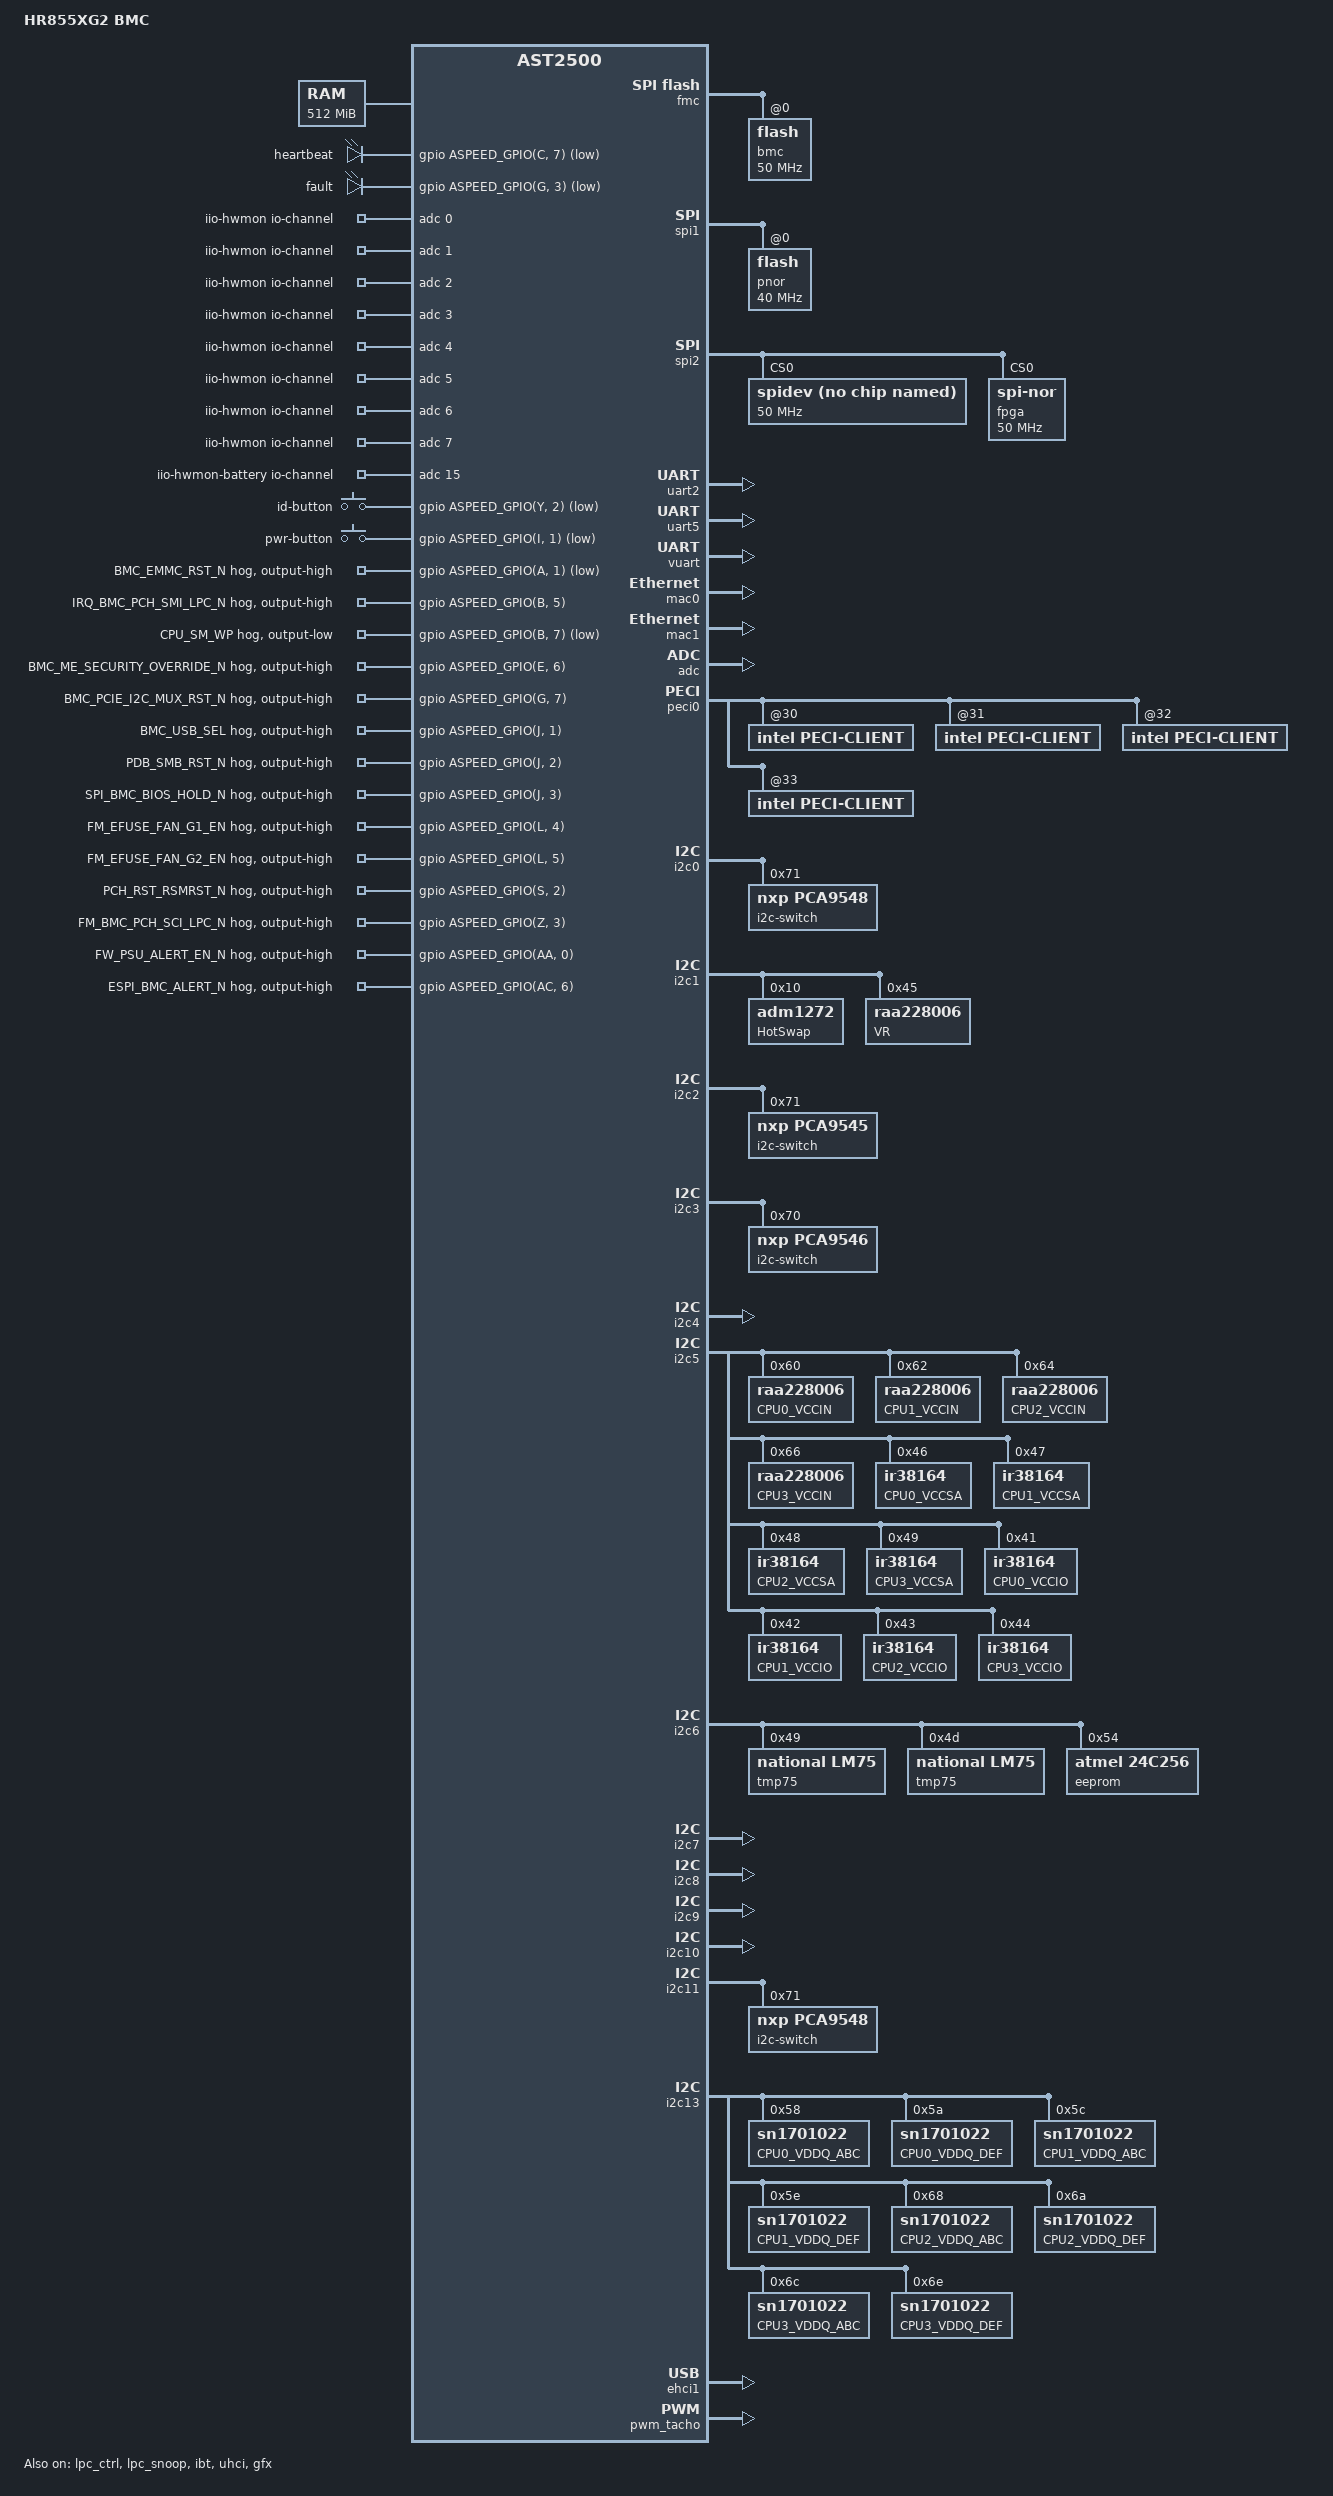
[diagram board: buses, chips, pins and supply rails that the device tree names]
// SPDX-License-Identifier: GPL-2.0+
/*
 * Device Tree file for Lenovo Hr855xg2 platform
 *
 * Copyright (C) 2019-present Lenovo
 */

/dts-v1/;

#include "aspeed-g5.dtsi"
#include <dt-bindings/gpio/aspeed-gpio.h>

/ {
	model = "HR855XG2 BMC";
	compatible = "lenovo,hr855xg2-bmc", "aspeed,ast2500";

	chosen {
		stdout-path = &uart5;
		bootargs = "console=tty0 console=ttyS4,115200 earlyprintk";
	};

	memory@80000000 {
		device_type = "memory";
		reg = <0x80000000 0x20000000>;
	};

	reserved-memory {
		#address-cells = <1>;
		#size-cells = <1>;
		ranges;

		flash_memory: region@9EFF0000 {
			no-map;
			reg = <0x9EFF0000 0x00010000>; /* 64K */
		};

		gfx_memory: framebuffer {
			size = <0x01000000>;
			alignment = <0x01000000>;
			compatible = "shared-dma-pool";
			reusable;
		};
	};
	
	leds {
		compatible = "gpio-leds";

		heartbeat {
			gpios = <&gpio ASPEED_GPIO(C, 7) GPIO_ACTIVE_LOW>;
		};

		fault {
		//	gpios = <&gpio ASPEED_GPIO(C, 6) GPIO_ACTIVE_LOW>;
			gpios = <&gpio ASPEED_GPIO(G, 3) GPIO_ACTIVE_LOW>;
		};
	};	
	
	iio-hwmon {
				compatible = "iio-hwmon";
				io-channels = <&adc 0>, <&adc 1>, <&adc 2>, <&adc 3>,
							<&adc 4>, <&adc 5>, <&adc 6>, <&adc 7>,
							<&adc 8>, <&adc 9>, <&adc 10>,<&adc 11>,
							<&adc 12>,<&adc 13>,<&adc 14>;
	};
	iio-hwmon-battery {
		compatible = "iio-hwmon";
		io-channels = <&adc 15>;
	};
	
	gpio-keys {
		compatible = "gpio-keys";

		id-button {
			label = "id-button";
			gpios = <&gpio ASPEED_GPIO(Y, 2) GPIO_ACTIVE_LOW>;
			linux,code = <ASPEED_GPIO(Y, 2)>;
		};
                pwr-button {
                        label = "pwr-button";
                        gpios = <&gpio ASPEED_GPIO(I, 1) GPIO_ACTIVE_LOW>;
                        linux,code = <ASPEED_GPIO(I, 1)>;
                };
	};
	pcie-slot {
		pcie_slot1: pcie-slot@0{
			label = "pcie-slot-1";
		};

		pcie_slot2: pcie-slot@1{
			label = "pcie-slot-2";
		};

		pcie_slot3: pcie-slot@2{
			label = "pcie-slot-3";
		};

		pcie_slot4: pcie-slot@3{
			label = "pcie-slot-4";
		};

		pcie_slot5: pcie-slot@4{
			label = "pcie-slot-5";
		};

		pcie_slot6: pcie-slot@5{
			label = "pcie-slot-1";
		};

		pcie_slot7: pcie-slot@6{
			label = "pcie-slot-7";
		};

		pcie_slot8: pcie-slot@7{
			label = "pcie-slot-8";
		};

		pcie_slot9: pcie-slot@8{
			label = "pcie-slot-9";
		};

		pcie_slot10: pcie-slot@9{
			label = "pcie-slot-9";
		};

		pcie_slot11: pcie-slot@10{
			label = "pcie-slot-11";
		};

		pcie_slot12: pcie-slot@11{
			label = "pcie-slot-12";
		};

	};


};

&fmc {
	status = "okay";
	flash@0 {
		status = "okay";
		m25p,fast-read;
		label = "bmc";
		spi-max-frequency = <50000000>;
#include "openbmc-flash-layout.dtsi"
	};
};

&lpc_ctrl {
	status = "okay";
	memory-region = <&flash_memory>;
};

&lpc_snoop {
       status = "okay";
       snoop-ports = <0x80>;
};

&spi1 {
	status = "okay";
	flash@0 {
		status = "okay";
		m25p,fast-read;
		label = "pnor";
		spi-max-frequency = <40000000>;
	};
};

&spi2 {
	status = "okay";
	pinctrl-names = "default";
	pinctrl-0 = <&pinctrl_spi2ck_default
		     &pinctrl_spi2cs0_default
		     &pinctrl_spi2miso_default
		     &pinctrl_spi2mosi_default>;
        spidev@0 {
                 status = "okay";
                 compatible = "aspeed,spidev";
                 reg = < 0 >;
                 spi-max-frequency = <50000000>;
        };
        flash@0 {
				compatible = "jedec,spi-nor";
				m25p,fast-read;
				label = "fpga";
				reg = < 0 >;
				spi-max-frequency = <50000000>;
				status = "okay";
		};
};

&uart2 {
	status = "okay";
};

&uart5 {
	status = "okay";
};

&vuart {
	status = "okay";
	auto-flow-control;
};


&ibt {
	status = "okay";	
};

&mac0 {
	status = "okay";
	
	pinctrl-names = "default";
	pinctrl-0 = <&pinctrl_rmii1_default>;
	use-ncsi;
};

&mac1 {
	status = "okay";

	pinctrl-names = "default";
	pinctrl-0 = <&pinctrl_rgmii2_default &pinctrl_mdio2_default>;
};

&adc{
	status = "okay";
};

&peci0 {
	status = "okay";
	peci-client@30 {
		compatible = "intel,peci-client";
		reg = <0x30>;
	};

	peci-client@31 {
		compatible = "intel,peci-client";
		reg = <0x31>;
	};

	peci-client@32 {
		compatible = "intel,peci-client";
		reg = <0x32>;
	};

	peci-client@33 {
		compatible = "intel,peci-client";
		reg = <0x33>;
	};
};


&i2c0 {
	status = "okay";
	i2c-switch@71 {
                compatible = "nxp,pca9548";
                #address-cells = <1>;
                #size-cells = <0>;
                reg = <0x71>;

                i2c_slot8: pcie-slot@0{
                        #address-cells = <1>;
                        #size-cells = <0>;
                        reg = <0>;
                        pcie-slot = &pcie_slot8;
                };
                i2c_slot9: pcie-slot@1{
                        #address-cells = <1>;
                        #size-cells = <0>;
                        reg = <1>;
                        pcie-slot =&pcie_slot9;
                };
                i2c_slot10: pcie-slot@2{
                        #address-cells = <1>;
                        #size-cells = <0>;
                        reg = <2>;
                        pcie-slot = &pcie_slot10;
                };
                i2c_slot11: pcie-slot@3{
                        #address-cells = <1>;
                        #size-cells = <0>;
                        reg = <3>;
                        pcie-slot = &pcie_slot11;
                };
                i2c_slot12: pcie-slot@4{
                        #address-cells = <1>;
                        #size-cells = <0>;
                        reg = <4>;
                        pcie-slot = &pcie_slot12;
                };

        };

};
&i2c1 {
	status = "okay";
		bus-frequency = <90000>;
	HotSwap@10 {
		compatible = "adm1272";
		reg = <0x10>;
	};

	VR@45 {
        compatible = "raa228006";
        reg = <0x45>;
    };


};
&i2c2 {
	status = "okay";
	i2c-switch@71 {
                compatible = "nxp,pca9545";
                #address-cells = <1>;
                #size-cells = <0>;
                reg = <0x71>;

                i2c_slot6: pcie-slot@1{
                        #address-cells = <1>;
                        #size-cells = <0>;
                        reg = <1>;
                        pcie-slot =&pcie_slot6;
                };
                i2c_slot7: pcie-slot@2{
                        #address-cells = <1>;
                        #size-cells = <0>;
                        reg = <2>;
                        pcie-slot =&pcie_slot7;
                };
        };

};

&i2c3 {
	status = "okay";
	
	i2c-switch@70 {
		compatible = "nxp,pca9546";
		reg = <0x70>;
		#address-cells = <1>;
		#size-cells = <0>;

		channel_0: i2c@0 {
			#address-cells = <1>;
			#size-cells = <0>;
			reg = <0>;			
		};

		channel_1: i2c@1 {
			#address-cells = <1>;
			#size-cells = <0>;
			reg = <1>;
		};

		channel_2: i2c@2 {
			#address-cells = <1>;
			#size-cells = <0>;
			reg = <2>;
		};

		channel_3: i2c@3 {
			#address-cells = <1>;
			#size-cells = <0>;
			reg = <3>;
		};
	};

};
&i2c4 {
	status = "okay";

};

&i2c5 {
	status = "okay";
	
	CPU0_VCCIN@60 {
		compatible = "raa228006";
		reg = <0x60>;
	};
	
	CPU1_VCCIN@62 {
		compatible = "raa228006";
		reg = <0x62>;
	};
	
	CPU2_VCCIN@64 {
		compatible = "raa228006";
		reg = <0x64>;
	};
	
	CPU3_VCCIN@66 {
		compatible = "raa228006";
		reg = <0x66>;
	};

	CPU0_VCCSA@46 {
		compatible = "ir38164";
		reg = <0x46>;
	};
	
	CPU1_VCCSA@47 {
		compatible = "ir38164";
		reg = <0x47>;
	};
	
	CPU2_VCCSA@48 {
		compatible = "ir38164";
		reg = <0x48>;
	};
	
	CPU3_VCCSA@49 {
		compatible = "ir38164";
		reg = <0x49>;
	};
	
	CPU0_VCCIO@41 {
		compatible = "ir38164";
		reg = <0x41>;
	};
	
	CPU1_VCCIO@42 {
		compatible = "ir38164";
		reg = <0x42>;
	};
	
	CPU2_VCCIO@43 {
		compatible = "ir38164";
		reg = <0x43>;
	};
	
	CPU3_VCCIO@44 {
		compatible = "ir38164";
		reg = <0x44>;
	};
};

&i2c6 {
	status = "okay";
	
	/* temp1 	*/
	tmp75@49 {
			compatible = "national,lm75";
			reg = <0x49>;
	};
	
	/* temp2	*/
	tmp75@4d {
			compatible = "national,lm75";
			reg = <0x4d>;
	};
	
	eeprom@54 {
		compatible = "atmel,24c256";
		reg = <0x54>;
		pagesize = <16>;
	};

};

&i2c7 {
	status = "okay";
	
};

&i2c8 {
	status = "okay";

};

&i2c9 {
	status = "okay";
};

&i2c10 {
	status = "okay";
};

&i2c11 {
	status = "okay";
	i2c-switch@71 {
                compatible = "nxp,pca9548";
                #address-cells = <1>;
                #size-cells = <0>;
                reg = <0x71>;
                i2c_slot1: pcie-slot@0{
                        #address-cells = <1>;
                        #size-cells = <0>;
                        reg = <0>;
                        pcie-slot =&pcie_slot1;
                };
                i2c_slot2: pcie-slot@1{
                        #address-cells = <1>;
                        #size-cells = <0>;
                        reg = <1>;
                        pcie-slot = &pcie_slot2;
                };
                i2c_slot3: pcie-slot@2{
                        #address-cells = <1>;
                        #size-cells = <0>;
                        reg = <2>;
                        pcie-slot = &pcie_slot3;
                };
                i2c_slot4: pcie-slot@3{
                        #address-cells = <1>;
                        #size-cells = <0>;
                        reg = <3>;
                        pcie-slot = &pcie_slot4;
                };
                i2c_slot5: pcie-slot@4{
                        #address-cells = <1>;
                        #size-cells = <0>;
                        reg = <4>;
                        pcie-slot = &pcie_slot5;
                };
        };

};

&i2c13 {
	status = "okay";
	
	CPU0_VDDQ_ABC@58 {
		compatible = "sn1701022";
		reg = <0x58>;
	};
	
	CPU0_VDDQ_DEF@5a {
		compatible = "sn1701022";
		reg = <0x5a>;
	};
	
	CPU1_VDDQ_ABC@5c {
		compatible = "sn1701022";
		reg = <0x5c>;
	};
	
	CPU1_VDDQ_DEF@5e {
		compatible = "sn1701022";
		reg = <0x5e>;
	};
	
	CPU2_VDDQ_ABC@68 {
		compatible = "sn1701022";
		reg = <0x68>;
	};
	
	CPU2_VDDQ_DEF@6a {
		compatible = "sn1701022";
		reg = <0x6a>;
	};
	
	CPU3_VDDQ_ABC@6c {
		compatible = "sn1701022";
		reg = <0x6c>;
	};
	
	CPU3_VDDQ_DEF@6e {
		compatible = "sn1701022";
		reg = <0x6e>;
	};
	
};

&ehci1 {
	status = "okay";
};

&uhci {
	status = "okay";
};

&gfx {
		status = "okay";
		memory-region = <&gfx_memory>;
};

&pwm_tacho {
	status = "okay";
	pinctrl-names = "default";
	pinctrl-0 = <&pinctrl_pwm0_default
	&pinctrl_pwm1_default 
	&pinctrl_pwm2_default 
	&pinctrl_pwm3_default 
	&pinctrl_pwm4_default
	&pinctrl_pwm5_default
	&pinctrl_pwm6_default
	&pinctrl_pwm7_default>;

	fan@0 {
		reg = <0x00>;
		aspeed,fan-tach-ch = /bits/ 8 <0x00>;
	};

	fan@1 {
		reg = <0x00>;
		aspeed,fan-tach-ch = /bits/ 8 <0x01>;
	};

	fan@2 {
		reg = <0x01>;
		aspeed,fan-tach-ch = /bits/ 8 <0x02>;
	};

	fan@3 {
		reg = <0x01>;
		aspeed,fan-tach-ch = /bits/ 8 <0x03>;
	};

	fan@4 {
		reg = <0x02>;
		aspeed,fan-tach-ch = /bits/ 8 <0x04>;
	};

	fan@5 {
		reg = <0x02>;
		aspeed,fan-tach-ch = /bits/ 8 <0x05>;
	};

	fan@6 {
		reg = <0x03>;
		aspeed,fan-tach-ch = /bits/ 8 <0x06>;
	};
	
	fan@7 {
		reg = <0x03>;
		aspeed,fan-tach-ch = /bits/ 8 <0x07>;
	};

	fan@8 {
		reg = <0x04>;
		aspeed,fan-tach-ch = /bits/ 8 <0x08>;
	};

	fan@9 {
		reg = <0x04>;
		aspeed,fan-tach-ch = /bits/ 8 <0x09>;
	};

	fan@10 {
		reg = <0x05>;
		aspeed,fan-tach-ch = /bits/ 8 <0x0a>;
	};

	fan@11 {
		reg = <0x05>;
		aspeed,fan-tach-ch = /bits/ 8 <0x0b>;
	};

	fan@12 {
		reg = <0x06>;
		aspeed,fan-tach-ch = /bits/ 8 <0x0c>;
	};

	fan@13 {
		reg = <0x06>;
		aspeed,fan-tach-ch = /bits/ 8 <0x0d>;
	};
	
	fan@14 {
		reg = <0x07>;
		aspeed,fan-tach-ch = /bits/ 8 <0x0e>;
	};

	fan@15 {
		reg = <0x07>;
		aspeed,fan-tach-ch = /bits/ 8 <0x0f>;
	};

	fan@16 {
		reg = <0x07>;
		aspeed,fan-tach-ch = /bits/ 8 <0x0f>;
	};
	
};
&gpio {

	pin_gpio_a1 {
		gpio-hog;
		gpios = <ASPEED_GPIO(A, 1) GPIO_ACTIVE_LOW>;
		output-high;
		line-name = "BMC_EMMC_RST_N";
	};

	pin_gpio_b5 {
		gpio-hog;
		gpios = <ASPEED_GPIO(B, 5) GPIO_ACTIVE_HIGH>;
		output-high;
		line-name = "IRQ_BMC_PCH_SMI_LPC_N";
	};
	
	pin_gpio_b7 {
		gpio-hog;
		gpios = <ASPEED_GPIO(B, 7) GPIO_ACTIVE_LOW>;
		output-low;
		line-name = "CPU_SM_WP";
	};
	
	pin_gpio_e6 {
		gpio-hog;
		gpios = <ASPEED_GPIO(E, 6) GPIO_ACTIVE_HIGH>;
		output-high;
		line-name = "BMC_ME_SECURITY_OVERRIDE_N";
	};
		
	pin_gpio_g7 {
		gpio-hog;
		gpios = <ASPEED_GPIO(G, 7) GPIO_ACTIVE_HIGH>;
		output-high;
		line-name = "BMC_PCIE_I2C_MUX_RST_N";
	};
	
//	pin_gpio_f2 {
//		gpio-hog;
//		gpios = <ASPEED_GPIO(F, 2) GPIO_ACTIVE_HIGH>;
//		output-high;
//		line-name = "RM_THROTTLE_EN_N";
//	};

//	pin_gpio_f3 {
//		gpio-hog;
//		gpios = <ASPEED_GPIO(F, 3) GPIO_ACTIVE_HIGH>;
//		output-low;
//		line-name = "FM_PMBUS_ALERT_B_EN";
//	};
	
//	pin_gpio_f4 {
//		gpio-hog;
//		gpios = <ASPEED_GPIO(F, 4) GPIO_ACTIVE_HIGH>;
//		output-high;
//		line-name = "BMC_FORCE_NM_THROTTLE_N";
//	};
	
	
	pin_gpio_j1 {
		gpio-hog;
		gpios = <ASPEED_GPIO(J, 1) GPIO_ACTIVE_HIGH>;
		output-high;
		line-name = "BMC_USB_SEL";
	};
	
	pin_gpio_j2 {
		gpio-hog;
		gpios = <ASPEED_GPIO(J, 2) GPIO_ACTIVE_HIGH>;
		output-high;
		line-name = "PDB_SMB_RST_N";
	};
	
	pin_gpio_j3 {
		gpio-hog;
		gpios = <ASPEED_GPIO(J, 3) GPIO_ACTIVE_HIGH>;
		output-high;
		line-name = "SPI_BMC_BIOS_HOLD_N";
	};
	
	pin_gpio_l4 {
		gpio-hog;
		gpios = <ASPEED_GPIO(L, 4) GPIO_ACTIVE_HIGH>;
		output-high;
		line-name = "FM_EFUSE_FAN_G1_EN";
	};
	
	pin_gpio_l5 {
		gpio-hog;
		gpios = <ASPEED_GPIO(L, 5) GPIO_ACTIVE_HIGH>;
		output-high;
		line-name = "FM_EFUSE_FAN_G2_EN";
	};
	
	pin_gpio_s2 {
		gpio-hog;
		gpios = <ASPEED_GPIO(S, 2) GPIO_ACTIVE_HIGH>;
		output-high;
		line-name = "PCH_RST_RSMRST_N";
	};
	
	pin_gpio_z3 {
		gpio-hog;
		gpios = <ASPEED_GPIO(Z, 3) GPIO_ACTIVE_HIGH>;
		output-high;
		line-name = "FM_BMC_PCH_SCI_LPC_N";
	};
	
	pin_gpio_aa0 {
		gpio-hog;
		gpios = <ASPEED_GPIO(AA, 0) GPIO_ACTIVE_HIGH>;
		output-high;
		line-name = "FW_PSU_ALERT_EN_N";
	};
	
	pin_gpio_ac6 {
		gpio-hog;
		gpios = <ASPEED_GPIO(AC, 6) GPIO_ACTIVE_HIGH>;
		output-high;
		line-name = "ESPI_BMC_ALERT_N";
	};
	
//      pin_gpio_f1 {
//        	gpio-hog;
//        	gpios = <ASPEED_GPIO(F, 1) GPIO_ACTIVE_HIGH>;
//        	input;
//        	line-name = "CPU2_PROCDIS_BMC_N";
//    	};

};
